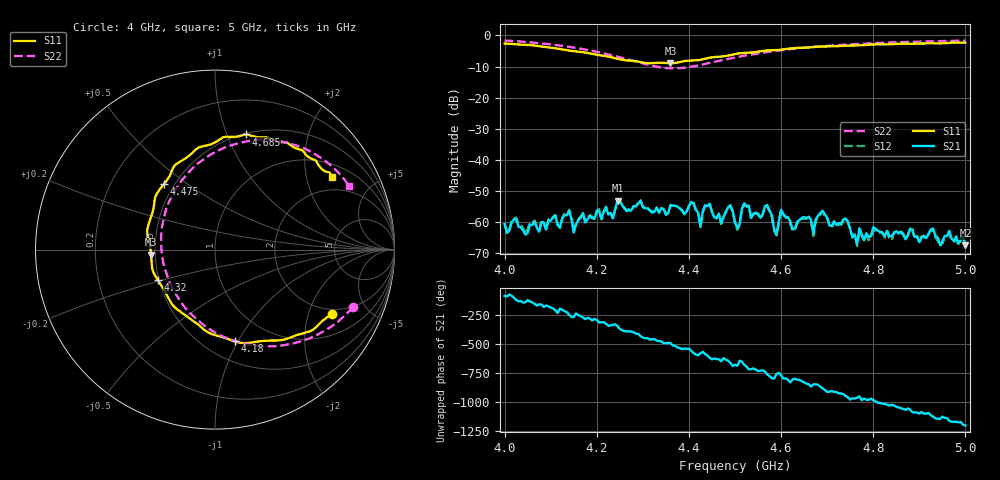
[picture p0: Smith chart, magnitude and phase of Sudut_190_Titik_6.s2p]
# Hz S RI R 50
! CMT, C1220, 16058040, 17.2.0/1
! Date: 15/08/2018 12:11:43
! Data: Format (Calibration Info)
! Freq  S11: Re/Im (F2)  S21: Re/Im (F2)  S12: Re/Im (F2)  S22: Re/Im (F2)
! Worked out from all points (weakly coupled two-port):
!   201 points, 4 GHz to 5 GHz, reference 50 ohm
!   highest |S21| = -53.09 dB at 4.245 GHz (marker M1); lowest = -67.4 dB at 5 GHz (marker M2)
!   lowest |S11| = -8.9 dB at 4.36 GHz (marker M3), VSWR 2.11, Z = 23.7 - j1.57 ohm
!   |S11| at or under -10 dB: nowhere
!   |S22| runs from -10.6 to -1.6 dB; largest |S21 - S12| = 0.00013
!   S11 on the Smith chart (normalised r, x): 4 GHz: 1.80, -2.89; 4.18 GHz: 0.69, -0.98; 4.32 GHz: 0.49, -0.19; 4.475 GHz: 0.44, +0.41; 4.685 GHz: 0.51, +1.17; 5 GHz: 1.46, +2.84
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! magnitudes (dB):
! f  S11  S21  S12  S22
! 4 GHz  -2.6  -60.6  -60.2  -1.6
! 4.12 GHz  -4.3  -61.7  -61.8  -3.2
! 4.14 GHz  -4.9  -56.5  -56.0  -3.6
! 4.15 GHz  -5.0  -63.3  -62.8  -3.9
! 4.17 GHz  -5.4  -57.0  -56.9  -4.4
! 4.18 GHz  -5.6  -59.1  -58.5  -4.7
! 4.235 GHz  -7.1  -58.8  -58.8  -6.4
! 4.245 GHz  -7.5  -53.1  -52.8  -6.8
! 4.32 GHz  -8.9  -56.9  -56.5  -9.7
! 4.335 GHz  -8.7  -56.9  -57.0  -10.1
! 4.36 GHz  -8.9  -54.5  -54.5  -10.5
! 4.475 GHz  -6.7  -58.5  -58.2  -7.9
! 4.5 GHz  -6.0  -59.9  -60.3  -7.1
! 4.57 GHz  -4.8  -54.5  -54.7  -5.3
! 4.59 GHz  -4.7  -64.1  -64.2  -4.9
! 4.6 GHz  -4.6  -56.0  -56.0  -4.7
! 4.67 GHz  -3.7  -63.7  -64.5  -3.7
! 4.685 GHz  -3.6  -57.1  -57.6  -3.5
! 4.74 GHz  -3.3  -58.8  -59.0  -2.9
! 4.765 GHz  -3.2  -67.0  -67.6  -2.7
! 4.835 GHz  -2.8  -64.5  -65.3  -2.3
! 5 GHz  -2.3  -67.4  -67.5  -1.6
